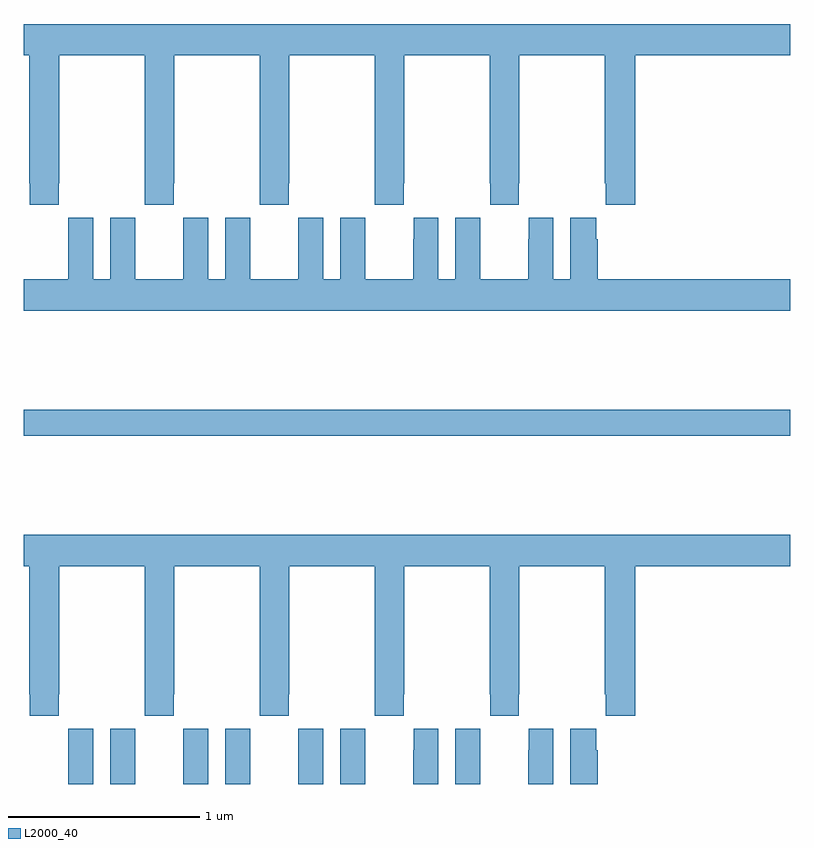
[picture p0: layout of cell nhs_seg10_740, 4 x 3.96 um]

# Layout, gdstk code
import gdstk
lib = gdstk.Library(unit=1e-6, precision=1e-09)
def R(c, l, rs):  # rectangles x0, y0, x1, y1
    for r in rs: c.add(gdstk.rectangle(r[:2], r[2:], *l))
def P(c, l, *ps):  # polygons
    for p in ps: c.add(gdstk.Polygon(p, *l))
L2000_40 = (2000, 40)

nhs_seg10_740 = lib.new_cell('nhs_seg10_740')
R(nhs_seg10_740, L2000_40, [(147,1314.316,151,1314.452)])
P(nhs_seg10_740, L2000_40, [(147.183,1315.633),(147.186,1315.633),(147.186,1316.3),(147.631,1316.3),(147.631,1315.633),(147.633,1315.633),(147.633,1315.521),(147.783,1315.521),(147.783,1315.633),(147.786,1315.633),(147.786,1316.3),(148.231,1316.3),(148.231,1315.633),(148.233,1315.633),(148.233,1315.521),(148.383,1315.521),(148.383,1315.633),(148.386,1315.633),(148.386,1316.3),(148.831,1316.3),(148.831,1315.633),(148.833,1315.633),(148.833,1315.521),(148.983,1315.521),(148.983,1315.633),(148.986,1315.633),(148.986,1316.3),(149.431,1316.3),(149.431,1315.633),(149.433,1315.633),(149.433,1315.521),(149.583,1315.521),(149.583,1315.633),(149.586,1315.633),(149.586,1316.3),(150.031,1316.3),(150.031,1315.633),(150.037,1315.633),(150.037,1315.521),(150.191,1315.521),(150.191,1316.3),(151,1316.3),(151,1316.464),(147,1316.464),(147,1316.3),(147.031,1316.3),(147.031,1315.633),(147.033,1315.633),(147.033,1315.521),(147.183,1315.521)],
  [(151,1315.132),(149.996,1315.132),(149.996,1315.34),(149.986,1315.34),(149.986,1315.453),(149.852,1315.453),(149.852,1315.132),(149.764,1315.132),(149.764,1315.453),(149.634,1315.453),(149.634,1315.34),(149.633,1315.34),(149.633,1315.132),(149.383,1315.132),(149.383,1315.34),(149.382,1315.34),(149.382,1315.453),(149.252,1315.453),(149.252,1315.132),(149.164,1315.132),(149.164,1315.453),(149.034,1315.453),(149.034,1315.34),(149.033,1315.34),(149.033,1315.132),(148.783,1315.132),(148.783,1315.34),(148.782,1315.34),(148.782,1315.453),(148.652,1315.453),(148.652,1315.132),(148.564,1315.132),(148.564,1315.453),(148.434,1315.453),(148.434,1315.34),(148.433,1315.34),(148.433,1315.132),(148.183,1315.132),(148.183,1315.34),(148.182,1315.34),(148.182,1315.453),(148.052,1315.453),(148.052,1315.132),(147.964,1315.132),(147.964,1315.453),(147.834,1315.453),(147.834,1315.34),(147.833,1315.34),(147.833,1315.132),(147.583,1315.132),(147.583,1315.34),(147.582,1315.34),(147.582,1315.453),(147.452,1315.453),(147.452,1315.132),(147.364,1315.132),(147.364,1315.453),(147.234,1315.453),(147.234,1315.34),(147.233,1315.34),(147.233,1315.132),(147,1315.132),(147,1314.968),(151,1314.968)],
  [(147.183,1312.969),(147.186,1312.969),(147.186,1313.636),(147.631,1313.636),(147.631,1312.969),(147.633,1312.969),(147.633,1312.857),(147.783,1312.857),(147.783,1312.969),(147.786,1312.969),(147.786,1313.636),(148.231,1313.636),(148.231,1312.969),(148.233,1312.969),(148.233,1312.857),(148.383,1312.857),(148.383,1312.969),(148.386,1312.969),(148.386,1313.636),(148.831,1313.636),(148.831,1312.969),(148.833,1312.969),(148.833,1312.857),(148.983,1312.857),(148.983,1312.969),(148.986,1312.969),(148.986,1313.636),(149.431,1313.636),(149.431,1312.969),(149.433,1312.969),(149.433,1312.857),(149.583,1312.857),(149.583,1312.969),(149.586,1312.969),(149.586,1313.636),(150.031,1313.636),(150.031,1312.969),(150.037,1312.969),(150.037,1312.857),(150.191,1312.857),(150.191,1313.636),(151,1313.636),(151,1313.8),(147,1313.8),(147,1313.636),(147.031,1313.636),(147.031,1312.969),(147.033,1312.969),(147.033,1312.857),(147.183,1312.857)],
  [(147.964,1312.789),(147.834,1312.789),(147.834,1312.676),(147.833,1312.676),(147.833,1312.5),(147.964,1312.5)],
  [(147.364,1312.789),(147.234,1312.789),(147.234,1312.676),(147.233,1312.676),(147.233,1312.5),(147.364,1312.5)],
  [(147.583,1312.676),(147.582,1312.676),(147.582,1312.789),(147.452,1312.789),(147.452,1312.5),(147.583,1312.5)],
  [(149.996,1312.676),(149.986,1312.676),(149.986,1312.789),(149.852,1312.789),(149.852,1312.5),(149.996,1312.5)],
  [(149.764,1312.789),(149.634,1312.789),(149.634,1312.676),(149.633,1312.676),(149.633,1312.5),(149.764,1312.5)],
  [(149.383,1312.676),(149.382,1312.676),(149.382,1312.789),(149.252,1312.789),(149.252,1312.5),(149.383,1312.5)],
  [(149.164,1312.789),(149.034,1312.789),(149.034,1312.676),(149.033,1312.676),(149.033,1312.5),(149.164,1312.5)],
  [(148.783,1312.676),(148.782,1312.676),(148.782,1312.789),(148.652,1312.789),(148.652,1312.5),(148.783,1312.5)],
  [(148.564,1312.789),(148.434,1312.789),(148.434,1312.676),(148.433,1312.676),(148.433,1312.5),(148.564,1312.5)],
  [(148.183,1312.676),(148.182,1312.676),(148.182,1312.789),(148.052,1312.789),(148.052,1312.5),(148.183,1312.5)])

lib.write_gds('nhs_seg10_740.gds')
